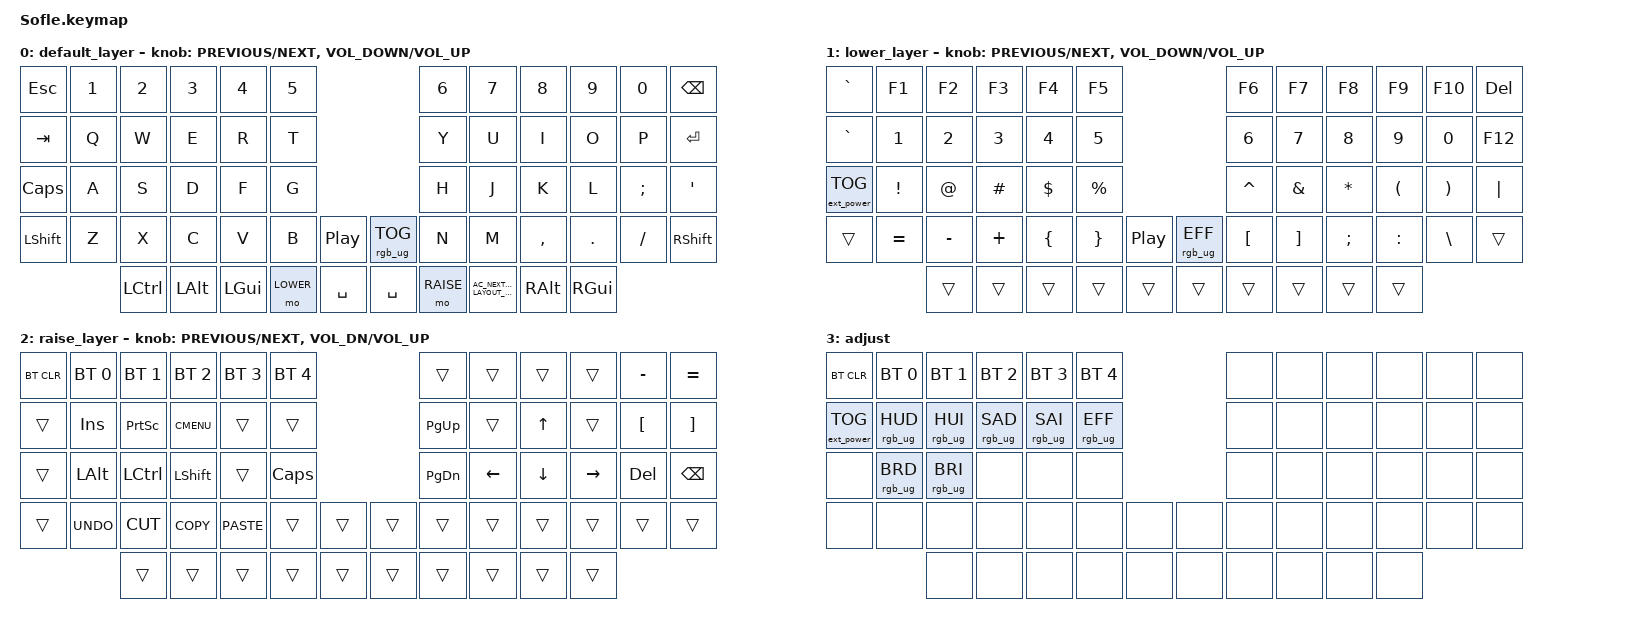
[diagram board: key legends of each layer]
/*
 * Copyright (c) 2020 The ZMK Contributors
 *
 * SPDX-License-Identifier: MIT
 */

#include <behaviors.dtsi>
#include <dt-bindings/zmk/bt.h>
#include <dt-bindings/zmk/ext_power.h>
#include <dt-bindings/zmk/keys.h>
#include <dt-bindings/zmk/rgb.h>

#define BASE 0
#define LOWER 1
#define RAISE 2
#define ADJUST 3

/ {
    // Activate ADJUST layer by pressing raise and lower

    conditional_layers {
        compatible = "zmk,conditional-layers";

        adjust_layer {
            if-layers = <LOWER RAISE>;
            then-layer = <ADJUST>;
        };
    };

    keymap {
        compatible = "zmk,keymap";

        default_layer {
            // ------------------------------------------------------------------------------------------------------------
            // |   `   |  1  |  2  |  3   |  4   |  5   |                   |  6   |  7    |  8    |  9   |   0   |       |
            // |  ESC  |  Q  |  W  |  E   |  R   |  T   |                   |  Y   |  U    |  I    |  O   |   P   | BKSPC |
            // |  TAB  |  A  |  S  |  D   |  F   |  G   |                   |  H   |  J    |  K    |  L   |   ;   |   '   |
            // | SHIFT |  Z  |  X  |  C   |  V   |  B   |  MUTE  |  |       |  N   |  M    |  ,    |  .   |   /   | SHIFT |
            //               | GUI | ALT  | CTRL | LOWER|  ENTER |  | SPACE | RAISE| CTRL  | ALT   | GUI  |

            bindings = <
&kp ESC       &kp N1  &kp N2            &kp N3    &kp N4        &kp N5                                          &kp N6     &kp N7                                &kp N8     &kp N9    &kp N0    &kp BACKSPACE
&kp TAB       &kp Q   &kp W             &kp E     &kp R         &kp T                                           &kp Y      &kp U                                 &kp I      &kp O     &kp P     &kp ENTER
&kp CAPSLOCK  &kp A   &kp S             &kp D     &kp F         &kp G                                           &kp H      &kp J                                 &kp K      &kp L     &kp SEMI  &kp SQT
&kp LSHFT     &kp Z   &kp X             &kp C     &kp V         &kp B      &kp C_PLAY_PAUSE    &rgb_ug RGB_TOG  &kp N      &kp M                                 &kp COMMA  &kp DOT   &kp FSLH  &kp RSHFT
                      &kp LEFT_CONTROL  &kp LALT  &kp LEFT_GUI  &mo LOWER  &kp SPACE           &kp SPACE        &mo RAISE  &kp C_AC_NEXT_KEYBOARD_LAYOUT_SELECT  &kp RALT   &kp RGUI
            >;

            sensor-bindings =
                <&inc_dec_kp C_PREVIOUS C_NEXT>,
                <&inc_dec_kp C_VOLUME_DOWN C_VOLUME_UP>;
        };

        lower_layer {
            // TODO: Some binds are waiting for shifted keycode support.
            // ------------------------------------------------------------------------------------------------------------
            // |       |  F1 |  F2 |  F3  |  F4  |  F5  |                   |  F6  |  F7   |  F8   |  F9  |  F10  |  F11  |
            // |   `   |  1  |  2  |  3   |  4   |  5   |                   |  6   |  7    |  8    |  9   |   0   |  F12  |
            // |       |  !  |  @  |  #   |  $   |  %   |                   |  ^   |  &    |  *    |  (   |   )   |   |   |
            // |       |  =  |  -  |  +   |  {   |  }   |        |  |       |  [   |  ]    |  ;    |  :   |   \   |       |
            //               |     |      |      |      |        |  |       |      |       |       |      |

            bindings = <
&kp GRAVE          &kp F1     &kp F2     &kp F3    &kp F4    &kp F5                                          &kp F6     &kp F7    &kp F8     &kp F9     &kp F10   &kp DELETE
&kp GRAVE          &kp N1     &kp N2     &kp N3    &kp N4    &kp N5                                          &kp N6     &kp N7    &kp N8     &kp N9     &kp N0    &kp F12
&ext_power EP_TOG  &kp EXCL   &kp AT     &kp HASH  &kp DLLR  &kp PRCNT                                       &kp CARET  &kp AMPS  &kp ASTRK  &kp LPAR   &kp RPAR  &kp PIPE
&trans             &kp EQUAL  &kp MINUS  &kp PLUS  &kp LBRC  &kp RBRC   &kp C_PLAY_PAUSE    &rgb_ug RGB_EFF  &kp LBKT   &kp RBKT  &kp SEMI   &kp COLON  &kp BSLH  &trans
                              &trans     &trans    &trans    &trans     &trans              &trans           &trans     &trans    &trans     &trans
            >;

            sensor-bindings =
                <&inc_dec_kp C_PREVIOUS C_NEXT>,
                <&inc_dec_kp C_VOLUME_DOWN C_VOLUME_UP>;
        };

        raise_layer {
            // ------------------------------------------------------------------------------------------------------------
            // | BTCLR | BT1  | BT2  |  BT3  |  BT4  |  BT5 |                |      |      |       |      |       |       |
            // |       | INS  | PSCR | GUI   |       |      |                | PGUP |      |   ^   |      |       |       |
            // |       | ALT  | CTRL | SHIFT |       | CAPS |                | PGDN |   <- |   v   |  ->  |  DEL  | BKSPC |
            // |       | UNDO | CUT  | COPY  | PASTE |      |      |  |      |      |      |       |      |       |       |
            //                |      |       |       |      |      |  |      |      |      |       |      |

            bindings = <
&bt BT_CLR  &bt BT_SEL 0  &bt BT_SEL 1  &bt BT_SEL 2  &bt BT_SEL 3  &bt BT_SEL 4                    &trans     &trans    &trans    &trans     &kp MINUS         &kp EQUAL
&trans      &kp INS       &kp PSCRN     &kp K_CMENU   &trans        &trans                          &kp PG_UP  &trans    &kp UP    &trans     &kp LEFT_BRACKET  &kp RIGHT_BRACKET
&trans      &kp LALT      &kp LCTRL     &kp LSHFT     &trans        &kp CLCK                        &kp PG_DN  &kp LEFT  &kp DOWN  &kp RIGHT  &kp DEL           &kp BSPC
&trans      &kp K_UNDO    &kp K_CUT     &kp K_COPY    &kp K_PASTE   &trans        &trans    &trans  &trans     &trans    &trans    &trans     &trans            &trans
                          &trans        &trans        &trans        &trans        &trans    &trans  &trans     &trans    &trans    &trans
            >;

            sensor-bindings =
                <&inc_dec_kp C_PREVIOUS C_NEXT>,
                <&inc_dec_kp C_VOL_DN C_VOLUME_UP>;
        };

        adjust_layer {
            // ----------------------------------------------------------------------------------------------------------------------------
            // | BTCLR  |  BT1    |  BT2    |   BT3   |   BT4   |   BT5   |                  |      |      |       |      |       |       |
            // | EXTPWR | RGB_HUD | RGB_HUI | RGB_SAD | RGB_SAI | RGB_EFF |                  |      |      |       |      |       |       |
            // |        | RGB_BRD | RGB_BRI |         |         |         |                  |      |      |       |      |       |       |
            // |        |         |         |         |         |         | RGB_TOG | |      |      |      |       |      |       |       |
            //                    |         |         |         |         |         | |      |      |      |       |      |

            display-name = "adjust";
            bindings = <
&bt BT_CLR         &bt BT_SEL 0     &bt BT_SEL 1     &bt BT_SEL 2     &bt BT_SEL 3     &bt BT_SEL 4                     &none  &none  &none  &none  &none  &none
&ext_power EP_TOG  &rgb_ug RGB_HUD  &rgb_ug RGB_HUI  &rgb_ug RGB_SAD  &rgb_ug RGB_SAI  &rgb_ug RGB_EFF                  &none  &none  &none  &none  &none  &none
&none              &rgb_ug RGB_BRD  &rgb_ug RGB_BRI  &none            &none            &none                            &none  &none  &none  &none  &none  &none
&none              &none            &none            &none            &none            &none            &none    &none  &none  &none  &none  &none  &none  &none
                                    &none            &none            &none            &none            &none    &none  &none  &none  &none  &none
            >;
        };

        extra1 { status = "reserved"; };

        extra2 { status = "reserved"; };

        extra3 { status = "reserved"; };

        extra4 { status = "reserved"; };
    };
};
